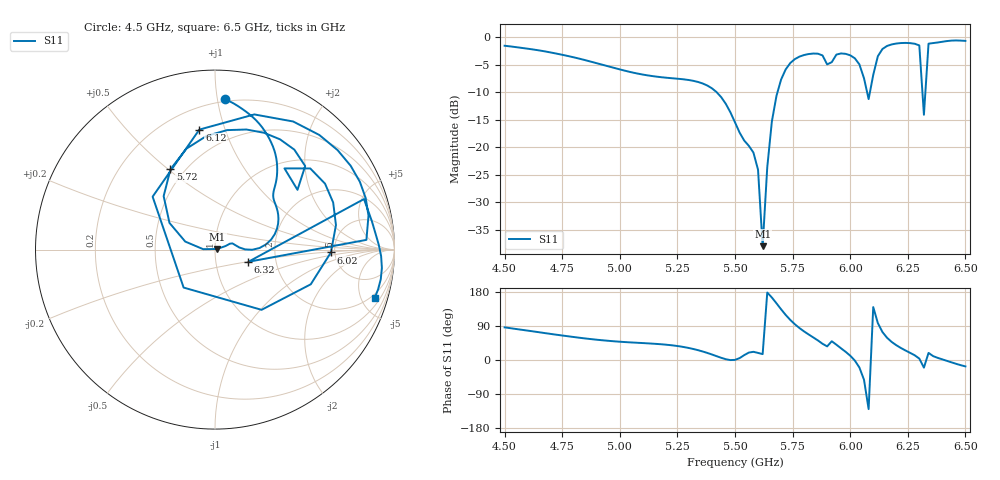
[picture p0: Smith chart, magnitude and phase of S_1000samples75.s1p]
! TOUCHSTONE file generated by CST MICROWAVE STUDIO
! Date and time: Wed Oct 26 21:54:50 2022
! Project name: L.cst
! Parameters = {Di=1.27; Epsilon_r=1.56; InnerDiameter=1.27; Length=2; Lf=10; Lg=60; OuterConductorThickness=0.2921; OuterDiameter=3.6; Wf=3; Wp=41.2; de=1.5; df=6.8; g=0.8; gx=1.83915; gy=4.39276; h=2.34; hf=1.524; px=14.0786; py=11.3123; w=9.7; wx=12.2394; wy=6.91954}
! Header version: 2018
! Port assignment regex: !\s*Touchstone port\s*([0-9]+)\s*=\s*(CST MWS port|CST DS port)\s*([0-9]+|Zmin|Zmax)\s*\(\"(.*)\"\)(\s*mode\s*([0-9]+))?.*
! Touchstone port assignment:
! Touchstone port 1 = CST MWS port 1 ("")
# GHz S DB R 50
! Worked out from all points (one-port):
!   101 points, 4.5 GHz to 6.5 GHz, reference 50 ohm
!   lowest |S11| = -38.0 dB at 5.62 GHz (marker M1), VSWR 1.03, Z = 51.2 + j0.345 ohm
!   |S11| at or under -10 dB: 5.421 GHz to 5.684 GHz (263.3 MHz wide, 4.74 % of centre); 6.073489 GHz to 6.085586 GHz (12.1 MHz wide, 0.199 % of centre); 6.313534 GHz to 6.326309 GHz (12.77 MHz wide, 0.202 % of centre)
!   S11 on the Smith chart (normalised r, x): 4.5 GHz: 0.19, +1.05; 5.72 GHz: 0.42, +0.51; 6.02 GHz: 4.64, -0.25; 6.12 GHz: 0.33, +0.82; 6.32 GHz: 1.44, -0.20; 6.5 GHz: 1.60, -6.36
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4.5  -1.52 86.2
4.76  -3.25 63.9
5  -5.82 48.2
5.26  -7.56 36.0
5.4  -9.27 14.5
5.5  -15.47 0.3
5.6  -24.10 18.7
5.62  -38.01 15.5
5.64  -23.64 178.0
5.66  -15.31 164.9
5.72  -5.82 119.0
5.76  -3.94 94.2
5.86  -2.96 51.6
5.9  -4.92 35.9
5.92  -4.50 49.5
5.94  -3.13 40.4
6  -3.25 11.5
6.02  -3.80 -1.4
6.06  -7.45 -52.3
6.08  -11.23 -129.6
6.1  -6.82 139.7
6.12  -3.43 97.4
6.18  -1.27 47.7
6.26  -1.04 18.9
6.3  -1.46 3.7
6.32  -14.08 -20.1
6.34  -1.15 18.7
6.5  -0.63 -16.9
